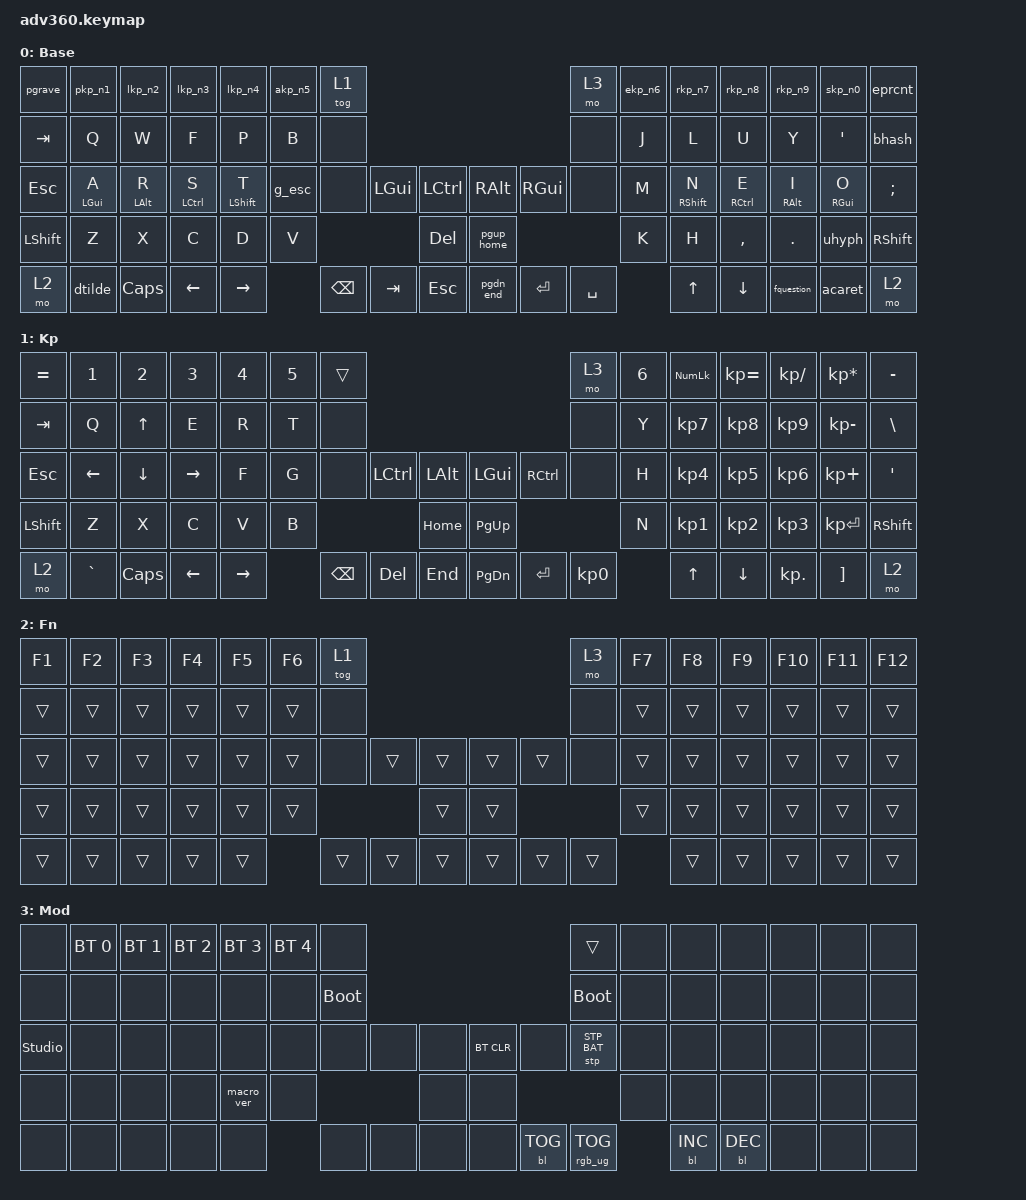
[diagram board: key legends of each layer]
#include <dt-bindings/zmk/stp.h>
#include <behaviors.dtsi>
#include <dt-bindings/zmk/backlight.h>
#include <dt-bindings/zmk/bt.h>
#include <dt-bindings/zmk/keys.h>
#include <dt-bindings/zmk/rgb.h>

/ {
    behaviors {
        #include "macros.dtsi"
      #include "version.dtsi"

        hm: homerow_mods {
            compatible = "zmk,behavior-hold-tap";
            label = "HOMEROW_MODS";
            #binding-cells = <2>;
            tapping-term-ms = <280>;
            quick_tap_ms = <175>;
            flavor = "balanced";
            bindings = <&kp>, <&kp>;

            quick-tap-ms = <175>;
            require-prior-idle-ms = <150>;
        };

        gpipe: grave_pipe {
            compatible = "zmk,behavior-mod-morph";
            label = "grave_pipe";
            #binding-cells = <0>;
            bindings = <&kp GRAVE>, <&kp PIPE>;

            mods = <(MOD_LSFT|MOD_RSFT)>;
        };

        ppipe: pipe_pipe {
            compatible = "zmk,behavior-mod-morph";
            label = "pipe_pipe";
            #binding-cells = <0>;
            bindings = <&kp PIPE>, <&kp PIPE>;

            mods = <(MOD_LSFT|MOD_RSFT)>;
        };

        pkp_n1: plus_kp_n1 {
            compatible = "zmk,behavior-mod-morph";
            label = "plus_kp_n1";
            #binding-cells = <0>;
            bindings = <&kp KP_N1>, <&kp PLUS>;

            mods = <(MOD_LSFT|MOD_RSFT)>;
        };

        lkp_n2: left_bracket_kp_n2 {
            compatible = "zmk,behavior-mod-morph";
            label = "left_bracket_kp_n2";
            #binding-cells = <0>;
            bindings = <&kp KP_N2>, <&kp LEFT_BRACKET>;

            mods = <(MOD_LSFT|MOD_RSFT)>;
        };

        lkp_n3: left_brace_kp_n3 {
            compatible = "zmk,behavior-mod-morph";
            label = "left_brace_kp_n3";
            #binding-cells = <0>;
            bindings = <&kp KP_N3>, <&kp LEFT_BRACE>;

            mods = <(MOD_LSFT|MOD_RSFT)>;
        };

        lkp_n4: left_parenthesis_kp_n4 {
            compatible = "zmk,behavior-mod-morph";
            label = "left_parenthesis_kp_n4";
            #binding-cells = <0>;
            bindings = <&kp KP_N4>, <&kp LEFT_PARENTHESIS>;

            mods = <(MOD_LSFT|MOD_RSFT)>;
        };

        akp_n5: amps_kp_n5 {
            compatible = "zmk,behavior-mod-morph";
            label = "amps_kp_n5";
            #binding-cells = <0>;
            bindings = <&kp KP_N5>, <&kp AMPS>;

            mods = <(MOD_LSFT|MOD_RSFT)>;
        };

        ekp_n6: equal_kp_n6 {
            compatible = "zmk,behavior-mod-morph";
            label = "equal_kp_n6";
            #binding-cells = <0>;
            bindings = <&kp KP_N6>, <&kp EQUAL>;

            mods = <(MOD_LSFT|MOD_RSFT)>;
        };

        rkp_n7: right_parenthesis_kp_n7 {
            compatible = "zmk,behavior-mod-morph";
            label = "right_parenthesis_kp_n7";
            #binding-cells = <0>;
            bindings = <&kp KP_N7>, <&kp RIGHT_PARENTHESIS>;

            mods = <(MOD_LSFT|MOD_RSFT)>;
        };

        rkp_n8: right_brace_kp_n8 {
            compatible = "zmk,behavior-mod-morph";
            label = "right_brace_kp_n8";
            #binding-cells = <0>;
            bindings = <&kp KP_N8>, <&kp RIGHT_BRACE>;

            mods = <(MOD_LSFT|MOD_RSFT)>;
        };

        rkp_n9: right_bracket_kp_n9 {
            compatible = "zmk,behavior-mod-morph";
            label = "right_bracket_kp_n9";
            #binding-cells = <0>;
            bindings = <&kp KP_N9>, <&kp RIGHT_BRACKET>;

            mods = <(MOD_LSFT|MOD_RSFT)>;
        };

        skp_n0: star_kp_n0 {
            compatible = "zmk,behavior-mod-morph";
            label = "star_kp_n0";
            #binding-cells = <0>;
            bindings = <&kp KP_N0>, <&kp STAR>;

            mods = <(MOD_LSFT|MOD_RSFT)>;
        };

        eprcnt: excl_prcnt {
            compatible = "zmk,behavior-mod-morph";
            label = "excl_prcnt";
            #binding-cells = <0>;
            bindings = <&kp EXCL>, <&kp PRCNT>;

            mods = <(MOD_LSFT|MOD_RSFT)>;
        };

        dgrave: dllr_grave {
            compatible = "zmk,behavior-mod-morph";
            label = "dllr_grave";
            #binding-cells = <0>;
            bindings = <&kp DLLR>, <&kp GRAVE>;

            mods = <(MOD_LSFT|MOD_RSFT)>;
        };

        dtilde: dllr_tilde {
            compatible = "zmk,behavior-mod-morph";
            label = "dllr_tilde";
            #binding-cells = <0>;
            bindings = <&kp DLLR>, <&kp TILDE>;

            mods = <(MOD_LSFT|MOD_RSFT)>;
        };

        ggrave: grave_grave {
            compatible = "zmk,behavior-mod-morph";
            label = "grave_grave";
            #binding-cells = <0>;
            bindings = <&kp GRAVE>, <&kp GRAVE>;

            mods = <(MOD_LSFT|MOD_RSFT)>;
        };

        pgrave: pipe_grave {
            compatible = "zmk,behavior-mod-morph";
            label = "pipe_grave";
            #binding-cells = <0>;
            bindings = <&kp PIPE>, <&kp GRAVE>;

            mods = <(MOD_LSFT|MOD_RSFT)>;
        };

        bhash: bslh_hash {
            compatible = "zmk,behavior-mod-morph";
            label = "bslh_hash";
            #binding-cells = <0>;
            bindings = <&kp BSLH>, <&kp HASH>;

            mods = <(MOD_LSFT|MOD_RSFT)>;
        };

        acaret: at_caret {
            compatible = "zmk,behavior-mod-morph";
            label = "at_caret";
            #binding-cells = <0>;
            bindings = <&kp AT>, <&kp CARET>;

            mods = <(MOD_LSFT|MOD_RSFT)>;
        };

        fquestion: flsh_question {
            compatible = "zmk,behavior-mod-morph";
            label = "flsh_question";
            #binding-cells = <0>;
            bindings = <&kp KP_SLASH>, <&kp QUESTION>;

            mods = <(MOD_LSFT|MOD_RSFT)>;
        };

        uhyph: undr_hyph {
            compatible = "zmk,behavior-mod-morph";
            label = "undr_hyph";
            #binding-cells = <0>;
            bindings = <&kp UNDERSCORE>, <&kp KP_SUBTRACT>;

            mods = <(MOD_LSFT|MOD_RSFT)>;
        };

        g_esc: g_esc {
            compatible = "zmk,behavior-tap-dance";
            label = "G_ESC";
            #binding-cells = <0>;
            tapping-term-ms = <200>;
            bindings = <&kp G>, <&kp ESCAPE>;
        };

        pgup_home: pgup_home {
            compatible = "zmk,behavior-mod-morph";
            label = "PGUP_HOME";
            bindings = <&kp PG_UP>, <&kp HOME>;

            #binding-cells = <0>;
            mods = <(MOD_RGUI|MOD_LGUI)>;
        };

        pgdn_end: pgdn_end {
            compatible = "zmk,behavior-mod-morph";
            label = "PGDN_END";
            bindings = <&kp PAGE_DOWN>, <&kp END>;

            #binding-cells = <0>;
            mods = <(MOD_LGUI|MOD_RGUI)>;
        };
    };

    combos { compatible = "zmk,combos"; };

    keymap {
        compatible = "zmk,keymap";

        default_layer {
            display-name = "Base";
            bindings = <
&pgrave    &pkp_n1         &lkp_n2         &lkp_n3             &lkp_n4           &akp_n5  &tog 1                                                              &mo 3      &ekp_n6  &rkp_n7            &rkp_n8              &rkp_n9          &skp_n0          &eprcnt
&kp TAB    &kp Q           &kp W           &kp F               &kp P             &kp B    &none                                                               &none      &kp J    &kp L              &kp U                &kp Y            &kp APOSTROPHE   &bhash
&kp ESC    &hm LEFT_GUI A  &hm LEFT_ALT R  &hm LEFT_CONTROL S  &hm LEFT_SHIFT T  &g_esc   &none     &kp LGUI  &kp LEFT_CONTROL      &kp RIGHT_ALT  &kp RGUI   &none      &kp M    &hm RIGHT_SHIFT N  &hm RIGHT_CONTROL E  &hm RIGHT_ALT I  &hm RIGHT_GUI O  &kp SEMI
&kp LSHFT  &kp Z           &kp X           &kp C               &kp D             &kp V                        &kp DEL               &pgup_home                           &kp K    &kp H              &kp COMMA            &kp DOT          &uhyph           &kp RSHFT
&mo 2      &dtilde         &kp CAPS        &kp LEFT            &kp RIGHT                  &kp BSPC  &kp TAB   &kp ESCAPE            &pgdn_end      &kp ENTER  &kp SPACE           &kp UP             &kp DOWN             &fquestion       &acaret          &mo 2
            >;
        };

        keypad {
            display-name = "Kp";
            bindings = <
&kp EQUAL  &kp N1          &kp N2          &kp N3           &kp N4     &kp N5  &trans                                                   &mo 3      &kp N6  &kp KP_NUM  &kp KP_EQUAL  &kp KP_DIVIDE  &kp KP_MULTIPLY  &kp MINUS
&kp TAB    &kp Q           &kp UP_ARROW    &kp E            &kp R      &kp T   &none                                                    &none      &kp Y   &kp KP_N7   &kp KP_N8     &kp KP_N9      &kp KP_MINUS     &kp BSLH
&kp ESC    &kp LEFT_ARROW  &kp DOWN_ARROW  &kp RIGHT_ARROW  &kp F      &kp G   &none     &kp LCTRL  &kp LALT      &kp LGUI   &kp RCTRL  &none      &kp H   &kp KP_N4   &kp KP_N5     &kp KP_N6      &kp KP_PLUS      &kp SQT
&kp LSHFT  &kp Z           &kp X           &kp C            &kp V      &kp B                        &kp HOME      &kp PG_UP                        &kp N   &kp KP_N1   &kp KP_N2     &kp KP_N3      &kp KP_ENTER     &kp RSHFT
&mo 2      &kp GRAVE       &kp CAPS        &kp LEFT         &kp RIGHT          &kp BSPC  &kp DEL    &kp END       &kp PG_DN  &kp ENTER  &kp KP_N0          &kp UP      &kp DOWN      &kp KP_DOT     &kp RBKT         &mo 2
            >;
        };

        fn {
            display-name = "Fn";
            bindings = <
&kp F1  &kp F2  &kp F3  &kp F4  &kp F5  &kp F6  &tog 1                                      &mo 3   &kp F7  &kp F8  &kp F9  &kp F10  &kp F11  &kp F12
&trans  &trans  &trans  &trans  &trans  &trans  &none                                       &none   &trans  &trans  &trans  &trans   &trans   &trans
&trans  &trans  &trans  &trans  &trans  &trans  &none   &trans  &trans      &trans  &trans  &none   &trans  &trans  &trans  &trans   &trans   &trans
&trans  &trans  &trans  &trans  &trans  &trans                  &trans      &trans                  &trans  &trans  &trans  &trans   &trans   &trans
&trans  &trans  &trans  &trans  &trans          &trans  &trans  &trans      &trans  &trans  &trans          &trans  &trans  &trans   &trans   &trans
            >;
        };

        mod {
            display-name = "Mod";
            bindings = <
&none           &bt BT_SEL 0  &bt BT_SEL 1  &bt BT_SEL 2  &bt BT_SEL 3  &bt BT_SEL 4  &none                                                  &trans           &none  &none       &none       &none  &none  &none
&none           &none         &none         &none         &none         &none         &bootloader                                            &bootloader      &none  &none       &none       &none  &none  &none
&studio_unlock  &none         &none         &none         &none         &none         &none        &none  &none      &bt BT_CLR  &none       &stp STP_BAT     &none  &none       &none       &none  &none  &none
&none           &none         &none         &none         &macro_ver    &none                             &none      &none                                    &none  &none       &none       &none  &none  &none
&none           &none         &none         &none         &none                       &none        &none  &none      &none       &bl BL_TOG  &rgb_ug RGB_TOG         &bl BL_INC  &bl BL_DEC  &none  &none  &none
            >;
        };

        extra1 {
            display-name = "Red";
            status = "reserved";
        };

        extra2 {
            display-name = "Purple";
            status = "reserved";
        };

        extra3 {
            display-name = "Cyan";
            status = "reserved";
        };

        extra4 {
            display-name = "Yellow";
            status = "reserved";
        };
    };
};
